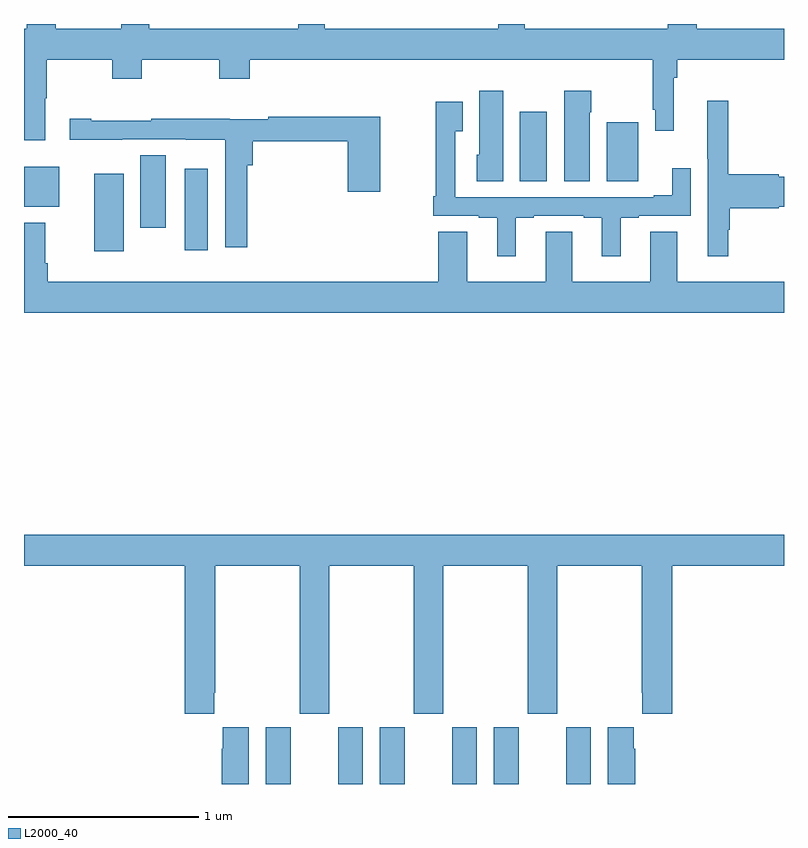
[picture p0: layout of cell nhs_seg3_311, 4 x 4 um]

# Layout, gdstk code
import gdstk
lib = gdstk.Library(unit=1e-6, precision=1e-09)
def R(c, l, rs):  # rectangles x0, y0, x1, y1
    for r in rs: c.add(gdstk.rectangle(r[:2], r[2:], *l))
def P(c, l, *ps):  # polygons
    for p in ps: c.add(gdstk.Polygon(p, *l))
L2000_40 = (2000, 40)

nhs_seg3_311 = lib.new_cell('nhs_seg3_311')
R(nhs_seg3_311, L2000_40, [(126.272,734.4,126.403,734.698), (126.653,734.4,126.784,734.698), (126.872,734.4,127.003,734.698), (127.253,734.4,127.384,734.698), (127.472,734.4,127.603,734.698), (127.853,734.4,127.984,734.698), (125.369,737.205,125.524,737.611), (125.846,737.208,125.968,737.638), (125.612,737.328,125.746,737.708), (125,737.438,125.185,737.65), (127.61,737.572,127.75,737.938), (128.066,737.572,128.233,737.884)])
P(nhs_seg3_311, L2000_40, [(125.113,738.008),(125.121,738.008),(125.121,738.212),(125.464,738.212),(125.464,738.113),(125.619,738.113),(125.619,738.212),(126.028,738.212),(126.028,738.113),(126.188,738.113),(126.188,738.212),(128.31,738.212),(128.31,737.95),(128.322,737.95),(128.322,737.838),(128.42,737.838),(128.42,738.116),(128.438,738.116),(128.438,738.212),(129,738.212),(129,738.376),(128.54,738.376),(128.54,738.4),(128.387,738.4),(128.387,738.376),(127.635,738.376),(127.635,738.4),(127.497,738.4),(127.497,738.376),(126.583,738.376),(126.583,738.4),(126.443,738.4),(126.443,738.376),(125.659,738.376),(125.659,738.4),(125.512,738.4),(125.512,738.376),(125.167,738.376),(125.167,738.4),(125.015,738.4),(125.015,738.376),(125,738.376),(125,737.787),(125.113,737.787)],
  [(127.522,738.049),(127.397,738.049),(127.397,737.712),(127.382,737.712),(127.382,737.572),(127.522,737.572)],
  [(127.978,737.936),(127.986,737.936),(127.986,738.049),(127.844,738.049),(127.844,737.572),(127.978,737.572)],
  [(128.707,737.316),(128.714,737.316),(128.714,737.431),(128.972,737.431),(128.972,737.438),(129,737.438),(129,737.596),(128.972,737.596),(128.972,737.609),(128.707,737.609),(128.707,737.995),(128.597,737.995),(128.597,737.692),(128.598,737.692),(128.598,737.178),(128.707,737.178)],
  [(127.588,737.379),(127.684,737.379),(127.684,737.391),(127.946,737.391),(127.946,737.379),(128.042,737.379),(128.042,737.178),(128.14,737.178),(128.14,737.379),(128.236,737.379),(128.236,737.391),(128.508,737.391),(128.508,737.641),(128.411,737.641),(128.411,737.5),(128.315,737.5),(128.315,737.487),(127.269,737.487),(127.269,737.836),(127.309,737.836),(127.309,737.992),(127.168,737.992),(127.168,737.494),(127.153,737.494),(127.153,737.391),(127.394,737.391),(127.394,737.379),(127.49,737.379),(127.49,737.178),(127.588,737.178)],
  [(126.176,737.657),(126.203,737.657),(126.203,737.782),(126.704,737.782),(126.704,737.517),(126.874,737.517),(126.874,737.911),(126.286,737.911),(126.286,737.9),(126.084,737.9),(126.084,737.902),(125.669,737.902),(125.669,737.892),(125.353,737.892),(125.353,737.902),(125.241,737.902),(125.241,737.792),(125.516,737.792),(125.516,737.793),(125.85,737.793),(125.85,737.792),(126.06,737.792),(126.06,737.226),(126.176,737.226)],
  [(129,737.044),(128.437,737.044),(128.437,737.306),(128.297,737.306),(128.297,737.044),(127.885,737.044),(127.885,737.306),(127.745,737.306),(127.745,737.044),(127.333,737.044),(127.333,737.306),(127.181,737.306),(127.181,737.044),(125.126,737.044),(125.126,737.14),(125.113,737.14),(125.113,737.353),(125,737.353),(125,736.88),(129,736.88)],
  [(126.001,734.881),(126.006,734.881),(126.006,735.548),(126.451,735.548),(126.451,734.769),(126.606,734.769),(126.606,735.548),(127.051,735.548),(127.051,734.769),(127.206,734.769),(127.206,735.548),(127.651,735.548),(127.651,734.769),(127.806,734.769),(127.806,735.548),(128.251,735.548),(128.251,734.881),(128.255,734.881),(128.255,734.769),(128.411,734.769),(128.411,735.548),(129,735.548),(129,735.712),(125,735.712),(125,735.548),(125.846,735.548),(125.846,734.769),(126.001,734.769)],
  [(128.216,734.585),(128.209,734.585),(128.209,734.698),(128.072,734.698),(128.072,734.4),(128.216,734.4)],
  [(126.184,734.698),(126.047,734.698),(126.047,734.585),(126.041,734.585),(126.041,734.4),(126.184,734.4)])

lib.write_gds('nhs_seg3_311.gds')
